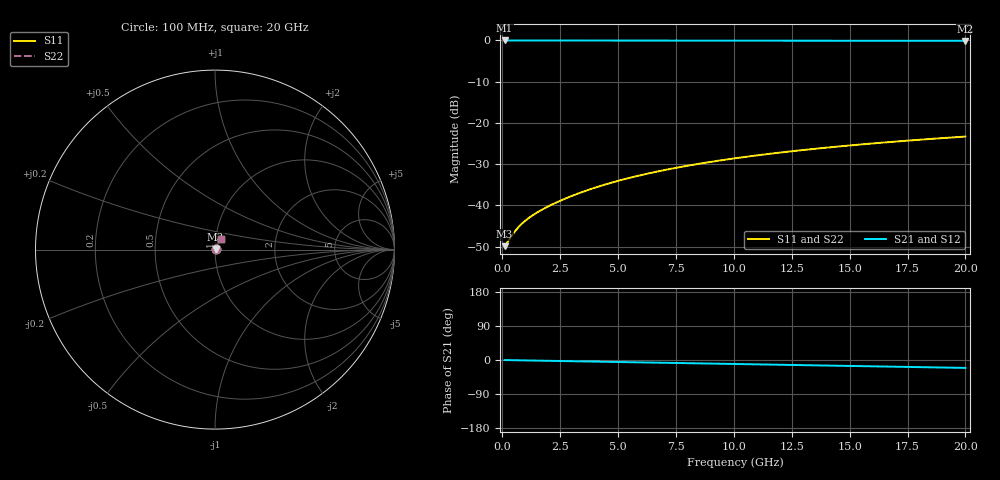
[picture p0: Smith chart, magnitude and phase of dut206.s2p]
! Touchstone file exported from HFSS 2026.1.0
!  File:  C:/ffzhzh/LocalFiles/Ansys_Project_Files/temp_train_TMRDL_206_1782984075_45328.aedt
!  Generated:  05:22:25 PM Jul  2, 2026
!  Design:  TMRDL
!  Project:  temp_train_TMRDL_206_1782984075_45328
! Variables:
!  h_bsmrdl = 2um
!  h_ox = 20um
!  h_rdl = 5um
!  h_sub = 80um
!  h_tmrdl = 2.28um
!  h_tsv = 80um
!  h_via = 3um
!  l_bsmrdl = 300um
!  l_sub = 756.33um
!  l_tmrdl = 356.33um
!  m_sub = 200um
!  pitch = 24.74um
!  r_tsv = 6um
!  s_tmrdl = 10um
!  w_bsmrdl = 18um
!  w_sub = 500um
!  w_tmrdl = 19.8um
!  x_tsv_center1 = 366.23um
!  x_tsv_center2 = 684.23um
!  x_tsv_center3 = 1060.36um
!  x_tsv_center4 = 1378.36um
!  x_tsv_center5 = 1754.49um
!  x_tsv_center6 = 2072.49um
# GHz S MA R 50.000000
! Terminal data exported
! Port[1] = TM_RDL1_1_T1
! Port[2] = TM_RDL1_1_T2
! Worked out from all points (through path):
!   200 points, 100 MHz to 20 GHz, reference 50 ohm
!   highest |S21| = -0.03 dB at 100 MHz (marker M1); lowest = -0.1 dB at 20 GHz (marker M2)
!   group delay of S21, straight-line fit = 2.89 ps
!   lowest |S11| = -49.9 dB at 100 MHz (marker M3), VSWR 1.01, Z = 50.3 + j0.067 ohm
!   |S11| at or under -10 dB: start of sweep to end of sweep
!   |S22| runs from -49.9 to -23.3 dB; largest |S21 - S12| = 2e-14
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0.1  0.003197 12.0  0.9969 -0.1  0.9969 -0.1  0.003197 12.0
! Gamma 0 0 0 0
! Port Impedance 50 0 50 0
0.2  0.00349 21.1  0.9968 -0.2  0.9968 -0.2  0.003492 21.2
0.5  0.00464 36.7  0.9962 -0.6  0.9962 -0.6  0.004643 36.7
0.7  0.005436 41.9  0.9959 -0.8  0.9959 -0.8  0.005436 41.9
0.9  0.006181 45.3  0.9956 -1.0  0.9956 -1.0  0.00618 45.3
1.2  0.007208 49.1  0.9953 -1.3  0.9953 -1.3  0.007206 49.1
1.6  0.008489 53.1  0.995 -1.7  0.995 -1.7  0.008488 53.1
2.2  0.01038 57.7  0.9948 -2.4  0.9948 -2.4  0.01038 57.7
2.8  0.01233 61.1  0.9946 -3.0  0.9946 -3.0  0.01233 61.1
3.5  0.01466 63.9  0.9943 -3.7  0.9943 -3.7  0.01466 63.9
4.2  0.01704 65.8  0.9941 -4.5  0.9941 -4.5  0.01704 65.8
5  0.0198 67.1  0.9938 -5.3  0.9938 -5.3  0.0198 67.1
5.9  0.02293 67.9  0.9935 -6.3  0.9935 -6.3  0.02293 67.9
6.8  0.02605 68.3  0.9931 -7.2  0.9931 -7.2  0.02605 68.3
7.6  0.02882 68.3  0.9928 -8.0  0.9928 -8.0  0.02882 68.3
8.4  0.03157 68.2  0.9924 -8.9  0.9924 -8.9  0.03157 68.2
10.1  0.03733 67.4  0.9916 -10.7  0.9916 -10.7  0.03733 67.4
11.7  0.04263 66.4  0.9907 -12.3  0.9907 -12.3  0.04264 66.4
13.4  0.04814 65.1  0.9898 -14.1  0.9898 -14.1  0.04814 65.1
15  0.05319 63.8  0.9889 -15.7  0.9889 -15.7  0.0532 63.8
16.7  0.05842 62.4  0.9879 -17.5  0.9879 -17.5  0.05843 62.3
20  0.06818 59.5  0.9861 -20.9  0.9861 -20.9  0.0682 59.4
